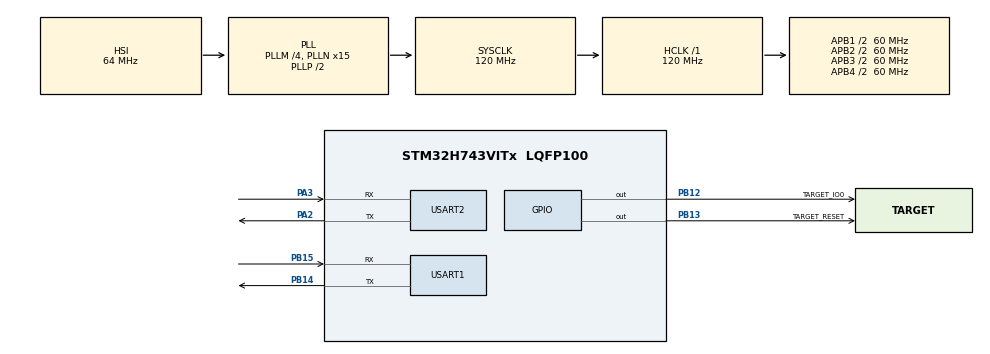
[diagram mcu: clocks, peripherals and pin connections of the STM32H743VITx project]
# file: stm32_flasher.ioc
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CORTEX_M7.CPU_DCache=Disabled
CORTEX_M7.CPU_ICache=Disabled
CORTEX_M7.default_mode_Activation=0
Mcu.Family=STM32H7
Mcu.Name=STM32H743VITx
Mcu.Package=LQFP100
NVIC.PriorityGroup=NVIC_PRIORITYGROUP_4
PA13\ (JTMS/SWDIO).Mode=Serial_Wire
PA13\ (JTMS/SWDIO).Signal=DEBUG_JTMS-SWDIO
PA14\ (JTCK/SWCLK).Mode=Serial_Wire
PA14\ (JTCK/SWCLK).Signal=DEBUG_JTCK-SWCLK
PA2.Mode=Asynchronous
PA2.Signal=USART2_TX
PA3.Mode=Asynchronous
PA3.Signal=USART2_RX
PB12.GPIO_Label=TARGET_IO0
PB12.Signal=GPIO_Output
PB13.GPIO_Label=TARGET_RESET
PB13.Signal=GPIO_Output
PB14.Mode=Asynchronous
PB14.Signal=USART1_TX
PB15.Mode=Asynchronous
PB15.Signal=USART1_RX
ProjectManager.HeapSize=0x000
ProjectManager.StackSize=0x400
ProjectManager.TargetToolchain=Makefile
RCC.ADCFreq_Value=129000000
RCC.APB1Freq_Value=60000000
RCC.APB2Freq_Value=60000000
RCC.APB3Freq_Value=60000000
RCC.APB4Freq_Value=60000000
RCC.CortexFreq_Value=120000000
RCC.D1PPRE=RCC_APB3_DIV2
RCC.D2PPRE1=RCC_APB1_DIV2
RCC.D2PPRE2=RCC_APB2_DIV2
RCC.D3PPRE=RCC_APB4_DIV2
RCC.DIVM1=4
RCC.DIVN1=15
RCC.HCLKFreq_Value=120000000
RCC.HSE_VALUE=25000000
RCC.PLL2FRACN=0
RCC.PLL3FRACN=0
RCC.PLLFRACN=0
RCC.PWR_Regulator_Voltage_Scale=PWR_REGULATOR_VOLTAGE_SCALE1
RCC.SYSCLKFreq_VALUE=120000000
RCC.SYSCLKSource=RCC_SYSCLKSOURCE_PLLCLK
RCC.USBFreq_Value=120000000
USART1.FIFOMode=FIFOMODE_DISABLE
USART1.RXFIFOThreshold=RXFIFO_THRESHOLD_1EIGHTHFULL
USART1.TXFIFOThreshold=TXFIFO_THRESHOLD_1EIGHTHFULL
USART1.VirtualMode-Asynchronous=VM_ASYNC
USART2.OneBitSampling=UART_ONE_BIT_SAMPLE_DISABLE
USART2.RXFIFOThreshold=RXFIFO_THRESHOLD_1EIGHTHFULL
USART2.TXFIFOThreshold=TXFIFO_THRESHOLD_1EIGHTHFULL
USART2.VirtualMode-Asynchronous=VM_ASYNC
board=custom

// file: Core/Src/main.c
/* USER CODE BEGIN Header */
/**
  ******************************************************************************
  * @file           : main.c
  * @brief          : Main program body
  ******************************************************************************
  * @attention
  *
  * Copyright (c) 2023 STMicroelectronics.
  * All rights reserved.
  *
  * This software is licensed under terms that can be found in the LICENSE file
  * in the root directory of this software component.
  * If no LICENSE file comes with this software, it is provided AS-IS.
  *
  ******************************************************************************
  */
/* USER CODE END Header */
#include "main.h"

/* USER CODE BEGIN Includes */
#include <stdio.h>
#include <stdint.h>
#include <string.h>
#include <sys/param.h>
#include "stm32_port.h"
#include "esp_loader.h"
#include "example_common.h"

// Embedded binary files using bin2array.cmake
extern const uint8_t bootloader_bin[];
extern const uint32_t bootloader_bin_size;
extern const uint8_t bootloader_bin_md5[];
extern const uint8_t partition_table_bin[];
extern const uint32_t partition_table_bin_size;
extern const uint8_t partition_table_bin_md5[];
extern const uint8_t app_bin[];
extern const uint32_t app_bin_size;
extern const uint8_t app_bin_md5[];
/* USER CODE END Includes */

/* USER CODE BEGIN PD */
#define HIGHER_BAUDRATE 230400
#define BUF_LEN 128
/* USER CODE END PD */

UART_HandleTypeDef huart1;
UART_HandleTypeDef huart2;

void SystemClock_Config(void);
static void MX_GPIO_Init(void);
static void MX_USART1_UART_Init(void);
static void MX_USART2_UART_Init(void);

int main(void)
{
  /* USER CODE BEGIN 1 */
  static uint8_t buf[BUF_LEN] = {0};
  /* USER CODE END 1 */

  /* MCU Configuration--------------------------------------------------------*/

  /* Reset of all peripherals, Initializes the Flash interface and the Systick. */
  HAL_Init();

  /* Configure the system clock */
  SystemClock_Config();

  /* Initialize all configured peripherals */
  MX_GPIO_Init();
  MX_USART1_UART_Init();
  MX_USART2_UART_Init();
  /* USER CODE BEGIN 2 */

  loader_stm32_config_t config = {
      .huart = &huart2,
      .port_io0 = TARGET_IO0_GPIO_Port,
      .pin_num_io0 = TARGET_IO0_Pin,
      .port_rst = TARGET_RESET_GPIO_Port,
      .pin_num_rst = TARGET_RESET_Pin,
  };

  loader_port_stm32_init(&config);

  if (connect_to_target(HIGHER_BAUDRATE) == ESP_LOADER_SUCCESS) {

    printf("Loading bootloader...\n");
    target_chip_t chip = esp_loader_get_target();
    uint32_t bootloader_addr = get_bootloader_address(chip);
    flash_binary(bootloader_bin, bootloader_bin_size, bootloader_addr);
    printf("Loading partition table...\n");
    flash_binary(partition_table_bin, partition_table_bin_size, PARTITION_TABLE_ADDRESS);
    printf("Loading app...\n");
    flash_binary(app_bin, app_bin_size, APPLICATION_ADDRESS);
    esp_loader_reset_target();

#if (HIGHER_BAUDRATE != 115200)
    HAL_UART_DeInit(&huart2);
    huart2.Init.BaudRate = 115200;
    if (HAL_UART_Init(&huart2) != HAL_OK) {
      Error_Handler();
    }
#endif

    // Delay for skipping the boot message of the targets
    HAL_Delay(500);

    printf("********************************************\n");
    printf("*** Logs below are print from slave .... ***\n");
    printf("********************************************\n");
    while (1)
    {
      HAL_UART_Receive(&huart2, (uint8_t *)buf, BUF_LEN - 1, 100);
      printf("%s", buf);
      memset(buf, 0, BUF_LEN);
    }

  }
  /* USER CODE END 2 */

  /* Infinite loop */
  while (1)
  {

  }
}

void SystemClock_Config(void)
{
  RCC_OscInitTypeDef RCC_OscInitStruct = {0};
  RCC_ClkInitTypeDef RCC_ClkInitStruct = {0};

  /** Supply configuration update enable
  */
  HAL_PWREx_ConfigSupply(PWR_LDO_SUPPLY);

  /** Configure the main internal regulator output voltage
  */
  __HAL_PWR_VOLTAGESCALING_CONFIG(PWR_REGULATOR_VOLTAGE_SCALE1);

  while(!__HAL_PWR_GET_FLAG(PWR_FLAG_VOSRDY)) {}

  /** Initializes the RCC Oscillators according to the specified parameters
  * in the RCC_OscInitTypeDef structure.
  */
  RCC_OscInitStruct.OscillatorType = RCC_OSCILLATORTYPE_HSI;
  RCC_OscInitStruct.HSIState = RCC_HSI_DIV1;
  RCC_OscInitStruct.HSICalibrationValue = RCC_HSICALIBRATION_DEFAULT;
  RCC_OscInitStruct.PLL.PLLState = RCC_PLL_ON;
  RCC_OscInitStruct.PLL.PLLSource = RCC_PLLSOURCE_HSI;
  RCC_OscInitStruct.PLL.PLLM = 4;
  RCC_OscInitStruct.PLL.PLLN = 15;
  RCC_OscInitStruct.PLL.PLLP = 2;
  RCC_OscInitStruct.PLL.PLLQ = 2;
  RCC_OscInitStruct.PLL.PLLR = 2;
  RCC_OscInitStruct.PLL.PLLRGE = RCC_PLL1VCIRANGE_3;
  RCC_OscInitStruct.PLL.PLLVCOSEL = RCC_PLL1VCOWIDE;
  RCC_OscInitStruct.PLL.PLLFRACN = 0;
  if (HAL_RCC_OscConfig(&RCC_OscInitStruct) != HAL_OK)
  {
    Error_Handler();
  }

  /** Initializes the CPU, AHB and APB buses clocks
  */
  RCC_ClkInitStruct.ClockType = RCC_CLOCKTYPE_HCLK|RCC_CLOCKTYPE_SYSCLK
                              |RCC_CLOCKTYPE_PCLK1|RCC_CLOCKTYPE_PCLK2
                              |RCC_CLOCKTYPE_D3PCLK1|RCC_CLOCKTYPE_D1PCLK1;
  RCC_ClkInitStruct.SYSCLKSource = RCC_SYSCLKSOURCE_PLLCLK;
  RCC_ClkInitStruct.SYSCLKDivider = RCC_SYSCLK_DIV1;
  RCC_ClkInitStruct.AHBCLKDivider = RCC_HCLK_DIV1;
  RCC_ClkInitStruct.APB3CLKDivider = RCC_APB3_DIV2;
  RCC_ClkInitStruct.APB1CLKDivider = RCC_APB1_DIV2;
  RCC_ClkInitStruct.APB2CLKDivider = RCC_APB2_DIV2;
  RCC_ClkInitStruct.APB4CLKDivider = RCC_APB4_DIV2;

  if (HAL_RCC_ClockConfig(&RCC_ClkInitStruct, FLASH_LATENCY_1) != HAL_OK)
  {
    Error_Handler();
  }
}

static void MX_USART1_UART_Init(void)
{

  huart1.Instance = USART1;
  huart1.Init.BaudRate = 115200;
  huart1.Init.WordLength = UART_WORDLENGTH_8B;
  huart1.Init.StopBits = UART_STOPBITS_1;
  huart1.Init.Parity = UART_PARITY_NONE;
  huart1.Init.Mode = UART_MODE_TX_RX;
  huart1.Init.HwFlowCtl = UART_HWCONTROL_NONE;
  huart1.Init.OverSampling = UART_OVERSAMPLING_16;
  huart1.Init.OneBitSampling = UART_ONE_BIT_SAMPLE_DISABLE;
  huart1.Init.ClockPrescaler = UART_PRESCALER_DIV1;
  huart1.AdvancedInit.AdvFeatureInit = UART_ADVFEATURE_NO_INIT;
  if (HAL_UART_Init(&huart1) != HAL_OK)
  {
    Error_Handler();
  }
  if (HAL_UARTEx_SetTxFifoThreshold(&huart1, UART_TXFIFO_THRESHOLD_1_8) != HAL_OK)
  {
    Error_Handler();
  }
  if (HAL_UARTEx_SetRxFifoThreshold(&huart1, UART_RXFIFO_THRESHOLD_1_8) != HAL_OK)
  {
    Error_Handler();
  }
  if (HAL_UARTEx_DisableFifoMode(&huart1) != HAL_OK)
  {
    Error_Handler();
  }

}

static void MX_USART2_UART_Init(void)
{

  huart2.Instance = USART2;
  huart2.Init.BaudRate = 115200;
  huart2.Init.WordLength = UART_WORDLENGTH_8B;
  huart2.Init.StopBits = UART_STOPBITS_1;
  huart2.Init.Parity = UART_PARITY_NONE;
  huart2.Init.Mode = UART_MODE_TX_RX;
  huart2.Init.HwFlowCtl = UART_HWCONTROL_NONE;
  huart2.Init.OverSampling = UART_OVERSAMPLING_16;
  huart2.Init.OneBitSampling = UART_ONE_BIT_SAMPLE_DISABLE;
  huart2.Init.ClockPrescaler = UART_PRESCALER_DIV1;
  huart2.AdvancedInit.AdvFeatureInit = UART_ADVFEATURE_NO_INIT;
  if (HAL_UART_Init(&huart2) != HAL_OK)
  {
    Error_Handler();
  }
  if (HAL_UARTEx_SetTxFifoThreshold(&huart2, UART_TXFIFO_THRESHOLD_1_8) != HAL_OK)
  {
    Error_Handler();
  }
  if (HAL_UARTEx_SetRxFifoThreshold(&huart2, UART_RXFIFO_THRESHOLD_1_8) != HAL_OK)
  {
    Error_Handler();
  }
  if (HAL_UARTEx_DisableFifoMode(&huart2) != HAL_OK)
  {
    Error_Handler();
  }

}

static void MX_GPIO_Init(void)
{
  GPIO_InitTypeDef GPIO_InitStruct = {0};

  /* GPIO Ports Clock Enable */
  __HAL_RCC_GPIOA_CLK_ENABLE();
  __HAL_RCC_GPIOB_CLK_ENABLE();

  /*Configure GPIO pin Output Level */
  HAL_GPIO_WritePin(GPIOB, TARGET_IO0_Pin|TARGET_RESET_Pin, GPIO_PIN_RESET);

  /*Configure GPIO pins : TARGET_IO0_Pin TARGET_RESET_Pin */
  GPIO_InitStruct.Pin = TARGET_IO0_Pin|TARGET_RESET_Pin;
  GPIO_InitStruct.Mode = GPIO_MODE_OUTPUT_PP;
  GPIO_InitStruct.Pull = GPIO_NOPULL;
  GPIO_InitStruct.Speed = GPIO_SPEED_FREQ_LOW;
  HAL_GPIO_Init(GPIOB, &GPIO_InitStruct);

}

void Error_Handler(void)
{
  __disable_irq();
  while (1)
  {
  }
}
